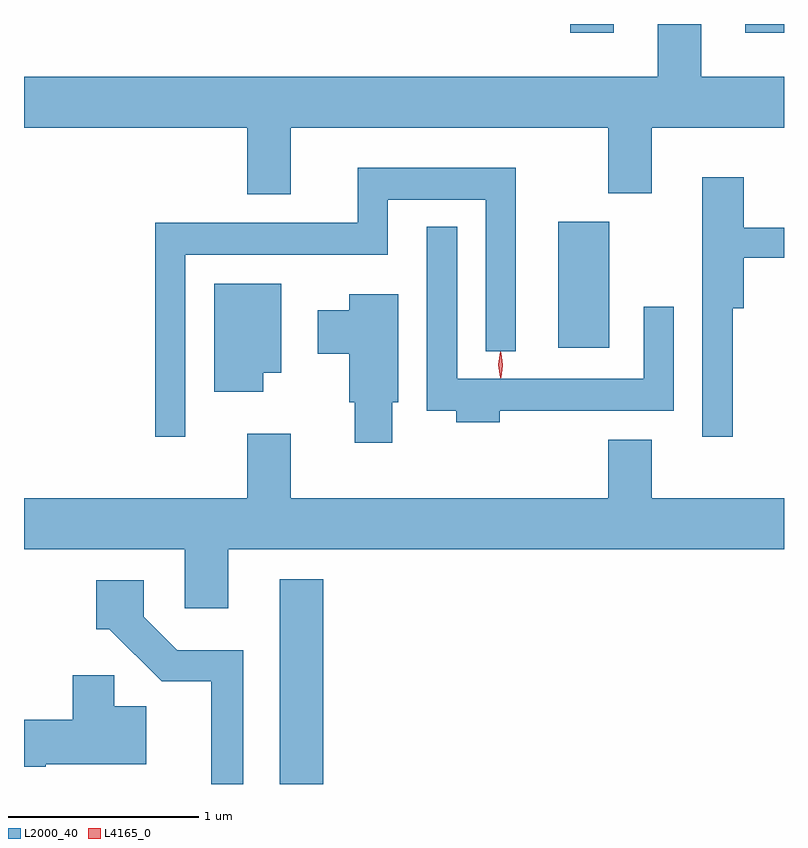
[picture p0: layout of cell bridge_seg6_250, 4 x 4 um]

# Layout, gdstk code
import gdstk
lib = gdstk.Library(unit=1e-6, precision=1e-09)
def R(c, l, rs):  # rectangles x0, y0, x1, y1
    for r in rs: c.add(gdstk.rectangle(r[:2], r[2:], *l))
def P(c, l, *ps):  # polygons
    for p in ps: c.add(gdstk.Polygon(p, *l))
L2000_40 = (2000, 40)
L4165_0 = (4165, 0)

bridge_seg6_250 = lib.new_cell('bridge_seg6_250')
R(bridge_seg6_250, L2000_40, [(1228.701,1595.421,1228.929,1596.499), (1230.166,1597.716,1230.434,1598.379), (1230.231,1599.376,1230.459,1599.421), (1231.151,1599.376,1231.355,1599.421)])
P(bridge_seg6_250, L2000_40, [(1228.759,1598.876),(1230.431,1598.876),(1230.431,1598.531),(1230.659,1598.531),(1230.659,1598.876),(1231.355,1598.876),(1231.355,1599.144),(1230.919,1599.144),(1230.919,1599.421),(1230.691,1599.421),(1230.691,1599.144),(1227.355,1599.144),(1227.355,1598.876),(1228.531,1598.876),(1228.531,1598.526),(1228.759,1598.526)],
  [(1228.204,1598.206),(1229.269,1598.206),(1229.269,1598.496),(1229.786,1598.496),(1229.786,1597.698),(1229.944,1597.698),(1229.944,1598.664),(1229.111,1598.664),(1229.111,1598.374),(1228.046,1598.374),(1228.046,1597.248),(1228.204,1597.248)],
  [(1231.084,1597.926),(1231.144,1597.926),(1231.144,1598.191),(1231.355,1598.191),(1231.355,1598.349),(1231.144,1598.349),(1231.144,1598.614),(1230.926,1598.614),(1230.926,1597.248),(1231.084,1597.248)],
  [(1229.859,1597.386),(1230.774,1597.386),(1230.774,1597.933),(1230.616,1597.933),(1230.616,1597.554),(1229.634,1597.554),(1229.634,1598.353),(1229.476,1598.353),(1229.476,1597.386),(1229.631,1597.386),(1229.631,1597.326),(1229.859,1597.326)],
  [(1228.614,1597.586),(1228.709,1597.586),(1228.709,1598.054),(1228.356,1598.054),(1228.356,1597.486),(1228.614,1597.486)],
  [(1229.294,1597.431),(1229.324,1597.431),(1229.324,1597.999),(1229.066,1597.999),(1229.066,1597.914),(1228.901,1597.914),(1228.901,1597.686),(1229.066,1597.686),(1229.066,1597.431),(1229.096,1597.431),(1229.096,1597.216),(1229.294,1597.216)],
  [(1228.429,1596.656),(1231.355,1596.656),(1231.355,1596.924),(1230.659,1596.924),(1230.659,1597.234),(1230.431,1597.234),(1230.431,1596.924),(1228.759,1596.924),(1228.759,1597.264),(1228.531,1597.264),(1228.531,1596.924),(1227.355,1596.924),(1227.355,1596.656),(1228.201,1596.656),(1228.201,1596.346),(1228.429,1596.346)],
  [(1228.509,1596.124),(1228.162,1596.124),(1227.984,1596.302),(1227.984,1596.494),(1227.736,1596.494),(1227.736,1596.236),(1227.804,1596.236),(1228.079,1595.961),(1228.341,1595.961),(1228.341,1595.421),(1228.509,1595.421)],
  [(1227.47,1595.526),(1227.999,1595.526),(1227.999,1595.829),(1227.829,1595.829),(1227.829,1595.994),(1227.611,1595.994),(1227.611,1595.759),(1227.355,1595.759),(1227.355,1595.511),(1227.47,1595.511)])
P(bridge_seg6_250, L4165_0, [(1229.862,1597.557),(1229.862,1597.558),(1229.852,1597.627),(1229.862,1597.696),(1229.862,1597.696),(1229.863,1597.696),(1229.872,1597.627),(1229.863,1597.558)],
  [(1229.865,1597.559),(1229.864,1597.56),(1229.855,1597.626),(1229.864,1597.692),(1229.865,1597.693),(1229.866,1597.692),(1229.875,1597.626),(1229.866,1597.56)])

lib.write_gds('bridge_seg6_250.gds')
